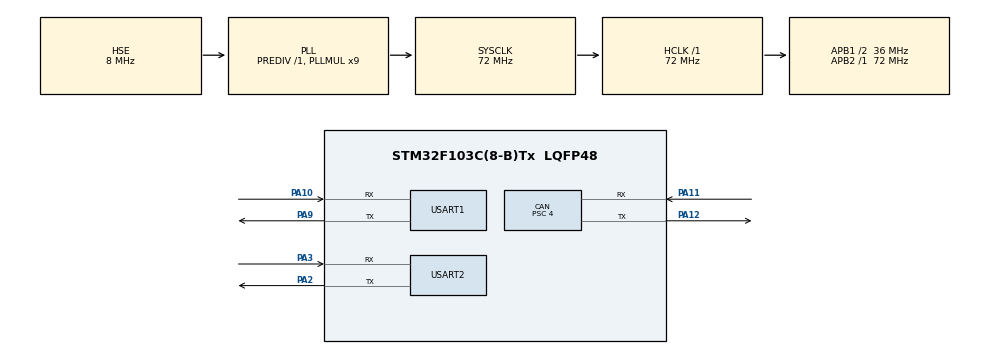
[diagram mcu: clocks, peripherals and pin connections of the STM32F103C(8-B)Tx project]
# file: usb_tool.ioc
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CAN.BS1=CAN_BS1_9TQ
CAN.BS2=CAN_BS2_8TQ
CAN.CalculateBaudRate=500000
CAN.CalculateTimeBit=2000
CAN.CalculateTimeQuantum=111.11111111111111
CAN.Prescaler=4
Mcu.Family=STM32F1
Mcu.Name=STM32F103C(8-B)Tx
Mcu.Package=LQFP48
NVIC.PriorityGroup=NVIC_PRIORITYGROUP_4
NVIC.USART1_IRQn=true\:0\:0\:false\:false\:true\:true\:true\:true
NVIC.USART2_IRQn=true\:0\:0\:false\:false\:true\:true\:true\:true
NVIC.USB_LP_CAN1_RX0_IRQn=true\:0\:0\:false\:false\:true\:true\:true\:true
PA10.Mode=Asynchronous
PA10.Signal=USART1_RX
PA11.Mode=CAN_Activate
PA11.Signal=CAN_RX
PA12.Mode=CAN_Activate
PA12.Signal=CAN_TX
PA13.Mode=Serial_Wire
PA13.Signal=SYS_JTMS-SWDIO
PA14.Mode=Serial_Wire
PA14.Signal=SYS_JTCK-SWCLK
PA2.Mode=Asynchronous
PA2.Signal=USART2_TX
PA3.Mode=Asynchronous
PA3.Signal=USART2_RX
PA9.Mode=Asynchronous
PA9.Signal=USART1_TX
PC14-OSC32_IN.Mode=LSE-External-Oscillator
PC14-OSC32_IN.Signal=RCC_OSC32_IN
PC15-OSC32_OUT.Mode=LSE-External-Oscillator
PC15-OSC32_OUT.Signal=RCC_OSC32_OUT
PD0-OSC_IN.Mode=HSE-External-Oscillator
PD0-OSC_IN.Signal=RCC_OSC_IN
PD1-OSC_OUT.Mode=HSE-External-Oscillator
PD1-OSC_OUT.Signal=RCC_OSC_OUT
ProjectManager.HeapSize=0x200
ProjectManager.StackSize=0x400
ProjectManager.TargetToolchain=MDK-ARM V5
RCC.AHBFreq_Value=72000000
RCC.APB1CLKDivider=RCC_HCLK_DIV2
RCC.APB1Freq_Value=36000000
RCC.APB1TimFreq_Value=72000000
RCC.APB2Freq_Value=72000000
RCC.APB2TimFreq_Value=72000000
RCC.HCLKFreq_Value=72000000
RCC.PLLMUL=RCC_PLL_MUL9
RCC.PLLSourceVirtual=RCC_PLLSOURCE_HSE
RCC.SYSCLKFreq_VALUE=72000000
RCC.SYSCLKSource=RCC_SYSCLKSOURCE_PLLCLK
RCC.USBFreq_Value=72000000
USART1.VirtualMode=VM_ASYNC
USART2.VirtualMode=VM_ASYNC
board=custom

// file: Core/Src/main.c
/* USER CODE BEGIN Header */
/**
  ******************************************************************************
  * @file           : main.c
  * @project        : STM32F103ZET6 车载 CAN ISO-TP 固件刷写网关 (can_formal_usb_tool)
  * @brief          : 网关三阶段刷写状态机：串口握手 -> CAN 0x0B3/0x0D3 唤醒擦除确认 -> Ymodem 转 ISO-TP
  *
  * ================================================================
  * 【文件结构与网关核心工作流】：
  *   1. 硬件外设分配：
  *      - USART2 (PA2/PA3, 115200) ：连接上位机终端，接收 AF 00 01 FA 升级指令与 Ymodem .bin 文件
  *      - USART1 (PA9/PA10, 115200)：printf 调试日志输出口 (打印刷写块进度与完成状态)
  *      - CAN1   (PA11/PA12, 500k) ：与目标仪表 ECU (STM32F407VET6) 进行 ISO-TP 多帧刷写通信
  *
  *   2. 三阶段网关刷写状态机：
  *      ① 阶段一 (等待上位机指令)：USART2 收到 "AF 00 01 FA" -> 向 CAN 发送 0x0B3 (BE AD BE EF 01) 唤醒帧
  *      ② 阶段二 (等待目标板擦除)：F407 软复位进 Bootloader 擦除 448KB APP 区 -> 擦完回传 0x0D3 应答帧
  *      ③ 阶段三 (Ymodem 转 ISO-TP)：网关收到 0x0D3 后启动 Ymodem_Receive()，每攒满 2048B 经 0x0B2 发往 F407
  * ================================================================
  ******************************************************************************
  */
/* USER CODE END Header */
#include "main.h"
#include "can.h"
#include "usart.h"
#include "gpio.h"

/* USER CODE BEGIN Includes */
#include "boot_manager.h"
#include "inter_flashif.h"
#include "inter_flash_cfg.h"
#include "ymodem.h"
#include "common.h"
#include <stdio.h>
#include "canif.h"
#include "isotp.h"
#include "iso_tp_cfg.h"
/* USER CODE END Includes */

void SystemClock_Config(void);
/* USER CODE BEGIN PFP */
uint8_t ymodule_run_flag = 0; // ★ Ymodem 接收与 ISO-TP 转发启动标志
/* USER CODE END PFP */

/* USER CODE BEGIN 0 */
// ★ 等待 F407 擦除 Sector 4~7 (448KB) 并回复 0x0D3 的最大超时阈值 (15 秒)
#define OTA_CALL_MAX_WAIT           (15*1000)
uint8_t tx_data[8] = {0};

static uint8_t pData[128];
static uint8_t ota_call_flag = 0;   // 等待 0x0D3 应答状态标志
static uint32_t ota_call_tick = 0;  // 升级呼叫超时计时器
/* USER CODE END 0 */

int main(void)
{

  /* MCU Configuration--------------------------------------------------------*/

  /* Reset of all peripherals, Initializes the Flash interface and the Systick. */
  HAL_Init();

  /* Configure the system clock */
  SystemClock_Config();

  /* Initialize all configured peripherals */
  MX_GPIO_Init();
  MX_USART1_UART_Init();
  MX_CAN_Init();
  MX_USART2_UART_Init();
  /* USER CODE BEGIN 2 */
  // ================================================================
  // 1. 初始化 CAN1 接口层与 ISO 15765-2 (ISO-TP) 协议栈
  // ================================================================
  printf("uart1:usb tool...\r\n");
  HAL_UART_Transmit(&huart2, (uint8_t *)"uart2:usb tool...\r\n", strlen("uart2:usb tool\r\n"), 0xff);
  canif_init();
  iso_tp_init();

  while (1)
  {
    // ================================================================
    // 阶段一：监听上位机串口 2 (USART2) 发来的 4 字节升级握手指令 (AF 00 01 FA)
    // ================================================================
    if (HAL_UART_Receive(&huart2, pData, 4, 0xFF) == HAL_OK)
    {
      if ((pData[0] == 0xAF) && (pData[3] == 0xFA))
      {
        if (pData[2] == 0x01)
        {
            printf("Upgrade will start...\r\n");

            // 向 CAN 总线广播 0x0B3 升级唤醒帧，通知 F407 写入 ota_flag=1 并重启进 Bootloader
            uint8_t send_msg[8] = {0xBE, 0xAD, 0xBE, 0xEF, 0x00, 0xAA, 0xAA, 0xAA};
            send_msg[4] = 0x01;
            CAN1_Send_Msg(CAN_ID_CALL_OTA, (uint8_t *)send_msg, 8);
            ota_call_flag = 1;
            ota_call_tick = OTA_CALL_MAX_WAIT + HAL_GetTick();
        }
      }
    }

    // ================================================================
    // 阶段二：等待目标板 F407 擦除完 Flash 后回传 0x0D3 准备就绪应答
    // ================================================================
    if (ota_call_flag == 1)
    {
        if ((ota_call_tick >= HAL_GetTick()) && (ota_call_tick != 0))
        {
          uint32_t recv_id = 0;
          uint8_t recv_len = 0;
          uint8_t rxdata[8] = {0};

          recv_len = CAN1_Recv_Msg(&recv_id, rxdata);
          if (recv_len > 0)
          {
            if (recv_id == CAN_ID_CALL_OTA_ACK)
            {
                // ★ 收到 F407 的 0x0D3 应答，说明对端 Flash 已擦空，可以启动 Ymodem 传文件！
                printf("Upgrade ack received...\r\n");
                ota_call_tick = 0;
                ota_call_flag = 0;
                ymodule_run_flag = 1;
            }
          }
        }
        else if ((ota_call_tick < HAL_GetTick()) && (ota_call_tick != 0))
        {
            ota_call_flag = 0;
            ota_call_tick = 0;
            printf("Upgrade timeout...\r\n");
        }
    }

    // ================================================================
    // 阶段三：启动 Ymodem 协议接收上位机 .bin 固件并经 ISO-TP 实时转发
    // ================================================================
    if (ymodule_run_flag == 1)
    {
        printf("Ymodule&TPClient is run,waiting for upgrade...\r\n");
        extern uint8_t aFileName[FILE_NAME_LENGTH];

        uint8_t number[11] = {0};
        uint32_t size = 0;
        COM_StatusTypeDef result;
        result = Ymodem_Receive(&size);
        if (result == COM_OK)
        {
            printf("\n\n\r Programming Completed Successfully!\n\r--------------------------------\r\n Name: %s", aFileName);

            Int2Str(number, size);
            printf("Size: %sBytes\r\n", number);

            // 升级完成后清除标志，回到待机监听状态
            ymodule_run_flag = 0;
        }
        else
        {
            printf("=---<ret:%d\r\n", result);
        }
    }
    /* USER CODE END WHILE */

  }
}

void SystemClock_Config(void)
{
  RCC_OscInitTypeDef RCC_OscInitStruct = {0};
  RCC_ClkInitTypeDef RCC_ClkInitStruct = {0};

  /** Initializes the RCC Oscillators according to the specified parameters
  * in the RCC_OscInitTypeDef structure.
  */
  RCC_OscInitStruct.OscillatorType = RCC_OSCILLATORTYPE_HSE;
  RCC_OscInitStruct.HSEState = RCC_HSE_ON;
  RCC_OscInitStruct.HSEPredivValue = RCC_HSE_PREDIV_DIV1;
  RCC_OscInitStruct.HSIState = RCC_HSI_ON;
  RCC_OscInitStruct.PLL.PLLState = RCC_PLL_ON;
  RCC_OscInitStruct.PLL.PLLSource = RCC_PLLSOURCE_HSE;
  RCC_OscInitStruct.PLL.PLLMUL = RCC_PLL_MUL9;
  if (HAL_RCC_OscConfig(&RCC_OscInitStruct) != HAL_OK)
  {
    Error_Handler();
  }

  /** Initializes the CPU, AHB and APB buses clocks
  */
  RCC_ClkInitStruct.ClockType = RCC_CLOCKTYPE_HCLK|RCC_CLOCKTYPE_SYSCLK
                              |RCC_CLOCKTYPE_PCLK1|RCC_CLOCKTYPE_PCLK2;
  RCC_ClkInitStruct.SYSCLKSource = RCC_SYSCLKSOURCE_PLLCLK;
  RCC_ClkInitStruct.AHBCLKDivider = RCC_SYSCLK_DIV1;
  RCC_ClkInitStruct.APB1CLKDivider = RCC_HCLK_DIV2;
  RCC_ClkInitStruct.APB2CLKDivider = RCC_HCLK_DIV1;

  if (HAL_RCC_ClockConfig(&RCC_ClkInitStruct, FLASH_LATENCY_2) != HAL_OK)
  {
    Error_Handler();
  }
}

void Error_Handler(void)
{
  __disable_irq();
  while (1)
  {
  }
}
